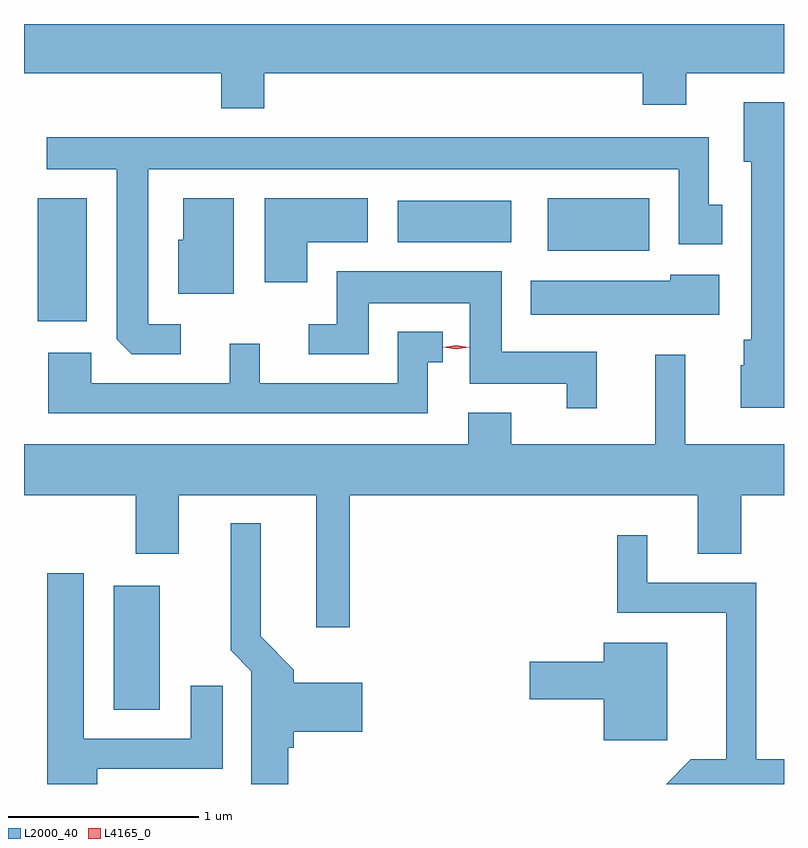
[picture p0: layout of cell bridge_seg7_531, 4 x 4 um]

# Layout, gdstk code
import gdstk
lib = gdstk.Library(unit=1e-6, precision=1e-09)
def R(c, l, rs):  # rectangles x0, y0, x1, y1
    for r in rs: c.add(gdstk.rectangle(r[:2], r[2:], *l))
def P(c, l, *ps):  # polygons
    for p in ps: c.add(gdstk.Polygon(p, *l))
L2000_40 = (2000, 40)
L4165_0 = (4165, 0)

bridge_seg7_531 = lib.new_cell('bridge_seg7_531')
R(bridge_seg7_531, L2000_40, [(921.996,1762.026,922.239,1762.679), (921.596,1764.071,921.854,1764.719), (924.281,1764.441,924.814,1764.719), (923.491,1764.486,924.089,1764.704)])
P(bridge_seg7_531, L2000_40, [(922.789,1765.376),(924.781,1765.376),(924.781,1765.211),(925.009,1765.211),(925.009,1765.376),(925.524,1765.376),(925.524,1765.635),(921.524,1765.635),(921.524,1765.376),(922.561,1765.376),(922.561,1765.191),(922.789,1765.191)],
  [(925.524,1765.224),(925.311,1765.224),(925.311,1764.911),(925.351,1764.911),(925.351,1763.974),(925.311,1763.974),(925.311,1763.84),(925.296,1763.84),(925.296,1763.616),(925.524,1763.616)],
  [(922.348,1764.054),(922.179,1764.054),(922.179,1764.871),(924.971,1764.871),(924.971,1764.476),(925.199,1764.476),(925.199,1764.684),(925.129,1764.684),(925.129,1765.039),(921.643,1765.039),(921.643,1764.871),(922.011,1764.871),(922.011,1763.977),(922.092,1763.896),(922.348,1763.896)],
  [(923.014,1764.486),(923.334,1764.486),(923.334,1764.719),(922.791,1764.719),(922.791,1764.276),(923.014,1764.276)],
  [(922.629,1764.719),(922.361,1764.719),(922.361,1764.499),(922.336,1764.499),(922.336,1764.216),(922.629,1764.216)],
  [(924.539,1763.909),(924.039,1763.909),(924.039,1764.334),(923.171,1764.334),(923.171,1764.054),(923.023,1764.054),(923.023,1763.896),(923.339,1763.896),(923.339,1764.166),(923.871,1764.166),(923.871,1763.741),(924.381,1763.741),(924.381,1763.613),(924.539,1763.613)],
  [(925.184,1764.314),(924.926,1764.314),(924.926,1764.284),(924.191,1764.284),(924.191,1764.106),(925.184,1764.106)],
  [(923.649,1763.856),(923.728,1763.856),(923.728,1764.014),(923.491,1764.014),(923.491,1763.744),(922.764,1763.744),(922.764,1763.953),(922.606,1763.953),(922.606,1763.744),(921.879,1763.744),(921.879,1763.904),(921.651,1763.904),(921.651,1763.586),(923.649,1763.586)],
  [(923.239,1763.156),(925.071,1763.156),(925.071,1762.846),(925.299,1762.846),(925.299,1763.156),(925.524,1763.156),(925.524,1763.424),(925.004,1763.424),(925.004,1763.893),(924.846,1763.893),(924.846,1763.424),(924.089,1763.424),(924.089,1763.589),(923.861,1763.589),(923.861,1763.424),(921.524,1763.424),(921.524,1763.156),(922.111,1763.156),(922.111,1762.846),(922.339,1762.846),(922.339,1763.156),(923.061,1763.156),(923.061,1762.461),(923.239,1762.461)],
  [(922.914,1761.826),(922.944,1761.826),(922.944,1761.911),(923.304,1761.911),(923.304,1762.169),(922.944,1762.169),(922.944,1762.237),(922.769,1762.412),(922.769,1763.008),(922.611,1763.008),(922.611,1762.339),(922.721,1762.229),(922.721,1761.635),(922.914,1761.635)],
  [(925.524,1761.764),(925.379,1761.764),(925.379,1762.694),(924.804,1762.694),(924.804,1762.943),(924.646,1762.943),(924.646,1762.536),(925.221,1762.536),(925.221,1761.764),(925.034,1761.764),(924.905,1761.635),(925.524,1761.635)],
  [(921.909,1761.716),(922.569,1761.716),(922.569,1762.153),(922.401,1762.153),(922.401,1761.874),(921.839,1761.874),(921.839,1762.744),(921.646,1762.744),(921.646,1761.635),(921.909,1761.635)],
  [(924.909,1762.379),(924.576,1762.379),(924.576,1762.279),(924.186,1762.279),(924.186,1762.081),(924.576,1762.081),(924.576,1761.866),(924.909,1761.866)])
P(bridge_seg7_531, L4165_0, [(923.798,1763.924),(923.729,1763.933),(923.729,1763.934),(923.729,1763.934),(923.798,1763.944),(923.868,1763.935),(923.868,1763.934),(923.868,1763.934)])

lib.write_gds('bridge_seg7_531.gds')
